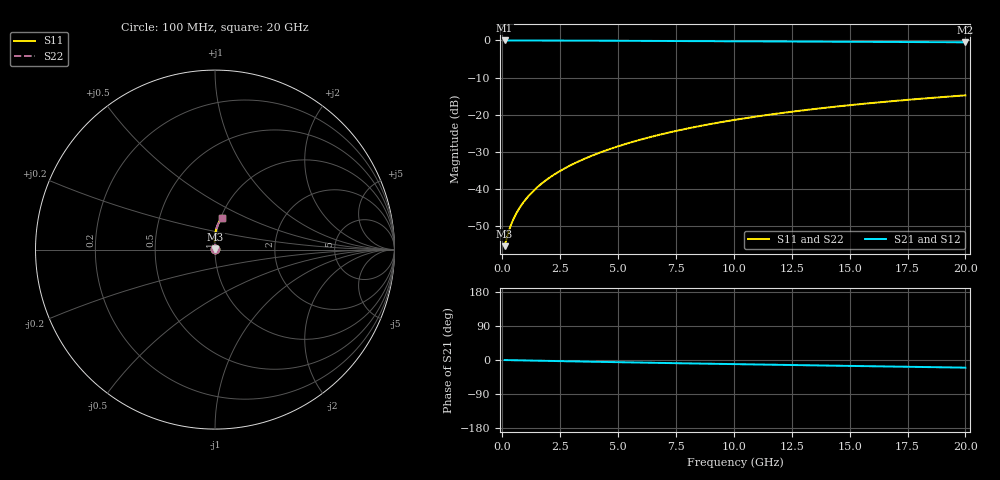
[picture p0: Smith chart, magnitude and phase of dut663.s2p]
! Touchstone file exported from HFSS 2024.1.0
!  File:  C:/UserFiles/LocalFiles/RDL_TSV_Batchsim/temp_RDL_bottom_663_1779785848.aedt
!  Generated:  04:59:54 PM May 26, 2026
!  Design:  RDL_bottom
!  Project:  temp_RDL_bottom_663_1779785848
!  Setup:  Setup1
!  Solution:  Sweep
! Variables:
!  dtsv = 10.80580581um
!  hbump = 3um
!  htsv = 68.98um
!  ldown = 282.5um
!  lrdl = 100um
!  p = 40
!  p1 = 47.54um
!  rhole = 1um
!  t = 450um
!  tdown = 3.04um
!  trdl = 3.915915916um
!  wdown = 27.46um
!  wrdl = 20um
# GHz S MA R 50.000000
! Terminal data exported
! Port[1] = RDL1_T1
! Port[2] = RDL1_T2
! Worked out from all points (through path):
!   200 points, 100 MHz to 20 GHz, reference 50 ohm
!   highest |S21| = -0.01 dB at 100 MHz (marker M1); lowest = -0.5 dB at 20 GHz (marker M2)
!   group delay of S21, straight-line fit = 2.76 ps
!   lowest |S11| = -55.4 dB at 100 MHz (marker M3), VSWR 1.00, Z = 50.1 + j0.0812 ohm
!   |S11| at or under -10 dB: start of sweep to end of sweep
!   |S22| runs from -55.4 to -14.8 dB; largest |S21 - S12| = 3.1e-15
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0.1  0.001697 28.5  0.9985 -0.1  0.9985 -0.1  0.001697 28.5
! Gamma 0 0 0 0
! Port Impedance 50 0 50 0
0.2  0.002223 45.1  0.9984 -0.3  0.9984 -0.3  0.002223 45.1
0.3  0.002823 54.2  0.9983 -0.4  0.9983 -0.4  0.002823 54.2
0.4  0.003431 60.0  0.9982 -0.5  0.9982 -0.5  0.003431 60.0
0.5  0.004039 64.3  0.9981 -0.6  0.9981 -0.6  0.004039 64.3
0.6  0.004651 67.6  0.998 -0.7  0.998 -0.7  0.004651 67.6
0.8  0.005893 72.5  0.9978 -1.0  0.9978 -1.0  0.005893 72.5
1  0.007165 76.1  0.9976 -1.2  0.9976 -1.2  0.007165 76.1
1.2  0.008466 78.8  0.9973 -1.5  0.9973 -1.5  0.008466 78.8
1.7  0.01183 83.3  0.9967 -2.0  0.9967 -2.0  0.01183 83.3
2.2  0.01533 86.2  0.9958 -2.6  0.9958 -2.6  0.01533 86.2
2.8  0.01971 88.6  0.9946 -3.3  0.9946 -3.3  0.01972 88.6
3.5  0.02509 90.4  0.9929 -4.1  0.9929 -4.1  0.02509 90.4
4.2  0.03074 91.5  0.9909 -4.9  0.9909 -4.9  0.03074 91.5
5  0.03751 92.2  0.9885 -5.8  0.9885 -5.8  0.03752 92.3
6.8  0.05378 92.4  0.9826 -7.7  0.9826 -7.7  0.05379 92.4
8.4  0.06908 91.4  0.9774 -9.3  0.9774 -9.3  0.06909 91.4
10.1  0.08578 89.8  0.9719 -11.0  0.9719 -11.0  0.08579 89.8
11.7  0.1017 88.1  0.967 -12.5  0.967 -12.5  0.1017 88.1
13.4  0.1185 86.1  0.962 -14.1  0.962 -14.1  0.1185 86.1
16.7  0.1508 82.1  0.9527 -17.2  0.9527 -17.2  0.1508 82.1
20  0.1821 78.3  0.9436 -20.2  0.9436 -20.2  0.1821 78.3
